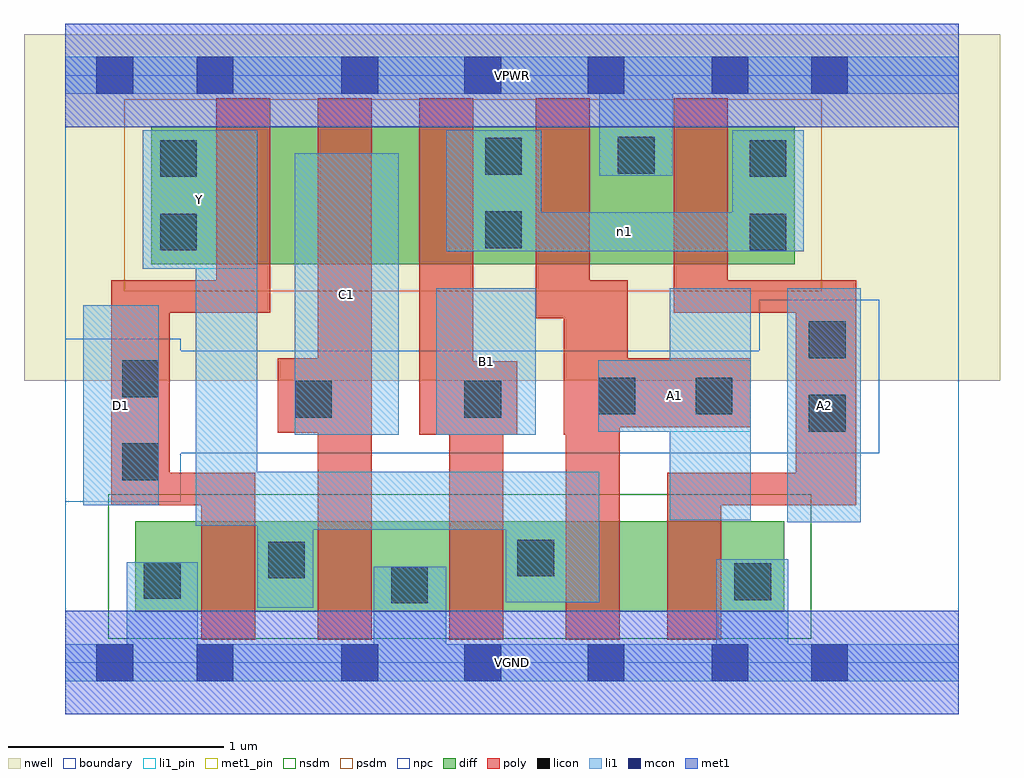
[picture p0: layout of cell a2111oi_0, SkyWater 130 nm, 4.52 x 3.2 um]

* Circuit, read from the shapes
.subckt a2111oi_0 A1 A2 B1 C1 D1 VGND VPWR Y n1
XM1 Y D1 VGND VSUBS sky130_fd_pr__nfet_01v8 w=0.42 l=0.25
XM2 VGND C1 Y VSUBS sky130_fd_pr__nfet_01v8 w=0.42 l=0.25
XM3 Y B1 VGND VSUBS sky130_fd_pr__nfet_01v8 w=0.42 l=0.25
XM4 n2 A1 Y VSUBS sky130_fd_pr__nfet_01v8 w=0.42 l=0.25
XM5 VGND A2 n2 VSUBS sky130_fd_pr__nfet_01v8 w=0.42 l=0.25
XM6 n3 D1 Y n4 sky130_fd_pr__pfet_01v8 w=0.64 l=0.25
XM7 n5 C1 n3 n4 sky130_fd_pr__pfet_01v8 w=0.64 l=0.25
XM8 n1 B1 n5 n4 sky130_fd_pr__pfet_01v8 w=0.64 l=0.25
XM9 VPWR A1 n1 n4 sky130_fd_pr__pfet_01v8 w=0.64 l=0.25
XM10 n1 A2 VPWR n4 sky130_fd_pr__pfet_01v8 w=0.64 l=0.25
.ends

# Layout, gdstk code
import gdstk
lib = gdstk.Library(unit=1e-6, precision=1e-09)
def R(c, l, rs):  # rectangles x0, y0, x1, y1
    for r in rs: c.add(gdstk.rectangle(r[:2], r[2:], *l))
def A(c, l, x, y, w, h, nx, ny, dx, dy):  # array of equal rectangles
    R(c, l, [(x+i*dx, y+j*dy, x+i*dx+w, y+j*dy+h) for i in range(nx) for j in range(ny)])
nwell = (64, 20)
diff = (65, 20)
poly = (66, 20)
licon = (66, 44)
li1_pin = (67, 16)
li1 = (67, 20)
mcon = (67, 44)
met1_pin = (68, 16)
met1 = (68, 20)
nsdm = (93, 44)
psdm = (94, 20)
npc = (95, 20)
boundary = (235, 4)

a2111oi_0 = lib.new_cell('a2111oi_0')
R(a2111oi_0, nwell, [(-0.19,1.305,4.33,2.91), (0,1.305,4.14,2.91)])
R(a2111oi_0, diff, [(0.325,0.235,3.33,0.655), (0.4,1.845,3.38,2.485)])
R(a2111oi_0, poly, [(0.63,0.105,0.88,0.88), (1.17,0.105,1.42,2.615), (1.78,0.105,2.03,1.395), (2.32,0.105,2.57,1.77), (2.79,0.105,3.04,0.88), (0.215,0.73,0.485,1.77), (0.215,0.73,0.88,0.88), (2.79,0.73,3.665,0.88), (3.385,0.73,3.665,1.77), (1.64,1.055,1.89,2.615), (1.64,1.055,2.095,1.395), (2.31,1.055,2.57,1.77), (0.985,1.065,1.42,1.41), (2.31,1.09,3.175,1.41), (2.31,1.09,2.605,1.77), (2.18,1.595,2.43,2.615), (0.215,1.62,0.95,1.77), (0.7,1.62,0.95,2.615), (2.82,1.62,3.07,2.615), (2.82,1.62,3.665,1.77)])
R(a2111oi_0, licon, [(1.51,0.275,1.68,0.445), (3.1,0.29,3.27,0.46), (0.365,0.295,0.535,0.465), (0.94,0.39,1.11,0.56), (2.095,0.4,2.265,0.57), (0.265,0.845,0.435,1.015), (3.445,1.07,3.615,1.24), (1.065,1.135,1.235,1.305), (1.85,1.135,2.02,1.305), (2.47,1.15,2.64,1.32), (2.92,1.15,3.09,1.32), (0.265,1.23,0.435,1.4), (3.445,1.41,3.615,1.58), (0.44,1.91,0.61,2.08), (3.17,1.91,3.34,2.08), (1.945,1.92,2.115,2.09), (0.44,2.25,0.61,2.42), (3.17,2.25,3.34,2.42), (1.945,2.26,2.115,2.43), (2.56,2.265,2.73,2.435)])
R(a2111oi_0, li1_pin, [(3.345,0.65,3.685,1.735), (0.085,0.73,0.435,1.655), (1.065,1.055,1.545,2.36), (1.72,1.055,2.18,1.735), (2.47,1.07,3.175,1.4), (0.36,1.825,0.89,2.465)])
R(a2111oi_0, li1, [(0,-0.085,4.14,0.085), (0.285,-0.085,0.615,0.465), (1.43,-0.085,1.765,0.445), (3.015,-0.085,3.35,0.48), (0.89,0.255,1.15,0.885), (2.04,0.28,2.475,0.885), (0.89,0.615,2.475,0.885), (0.605,0.635,0.89,2.465), (3.345,0.65,3.685,1.735), (2.8,0.66,3.175,1.735), (0.085,0.73,0.435,1.655), (1.065,1.055,1.545,2.36), (1.72,1.055,2.18,1.735), (2.47,1.07,3.175,1.4), (0.36,1.825,0.89,2.465), (1.765,1.905,3.42,2.085), (1.765,1.905,2.205,2.465), (3.09,1.905,3.42,2.465), (2.475,2.255,2.815,2.805), (0,2.635,4.14,2.805)])
A(a2111oi_0, mcon, 1.28, -0.085, 0.17, 0.17, 3, 2, 0.57, 2.72)
R(a2111oi_0, mcon, [(0.145,-0.085,0.315,0.085), (0.61,-0.085,0.78,0.085), (2.995,-0.085,3.165,0.085), (3.455,-0.085,3.625,0.085), (0.145,2.635,0.315,2.805), (0.61,2.635,0.78,2.805), (2.995,2.635,3.165,2.805), (3.455,2.635,3.625,2.805)])
R(a2111oi_0, met1_pin, [(0,-0.24,4.14,0.24), (0,2.48,4.14,2.96)])
R(a2111oi_0, met1, [(0,-0.24,4.14,0.24), (0,2.48,4.14,2.96)])
R(a2111oi_0, nsdm, [(0.2,0.11,3.455,0.78)])
R(a2111oi_0, psdm, [(0.275,1.72,3.505,2.61)])
R(a2111oi_0, npc, [(0,0.745,0.535,1.5), (0,0.97,3.77,1.445), (3.215,0.97,3.77,1.68)])
R(a2111oi_0, boundary, [(0,0,4.14,2.72)])
a2111oi_0.add(gdstk.Label('A1', (2.822,1.235), layer=67, texttype=5))
a2111oi_0.add(gdstk.Label('A2', (3.515,1.192), layer=67, texttype=5))
a2111oi_0.add(gdstk.Label('B1', (1.95,1.395), layer=67, texttype=5))
a2111oi_0.add(gdstk.Label('C1', (1.305,1.707), layer=67, texttype=5))
a2111oi_0.add(gdstk.Label('D1', (0.26,1.192), layer=67, texttype=5))
a2111oi_0.add(gdstk.Label('Y', (0.625,2.145), layer=67, texttype=5))
a2111oi_0.add(gdstk.Label('n1', (2.592,1.995), layer=67, texttype=5))
a2111oi_0.add(gdstk.Label('VPWR', (2.07,2.72), layer=68, texttype=5))
a2111oi_0.add(gdstk.Label('VGND', (2.07,0), layer=68, texttype=5))
a2111oi_0.add(gdstk.Label('A1', (2.822,1.235), layer=67, texttype=16))
a2111oi_0.add(gdstk.Label('A2', (3.515,1.192), layer=67, texttype=16))
a2111oi_0.add(gdstk.Label('B1', (1.95,1.395), layer=67, texttype=16))
a2111oi_0.add(gdstk.Label('C1', (1.305,1.707), layer=67, texttype=16))
a2111oi_0.add(gdstk.Label('D1', (0.26,1.192), layer=67, texttype=16))
a2111oi_0.add(gdstk.Label('Y', (0.625,2.145), layer=67, texttype=16))
a2111oi_0.add(gdstk.Label('VPWR', (2.07,2.72), layer=68, texttype=16))
a2111oi_0.add(gdstk.Label('VGND', (2.07,0), layer=68, texttype=16))

lib.write_gds('a2111oi_0.gds')
